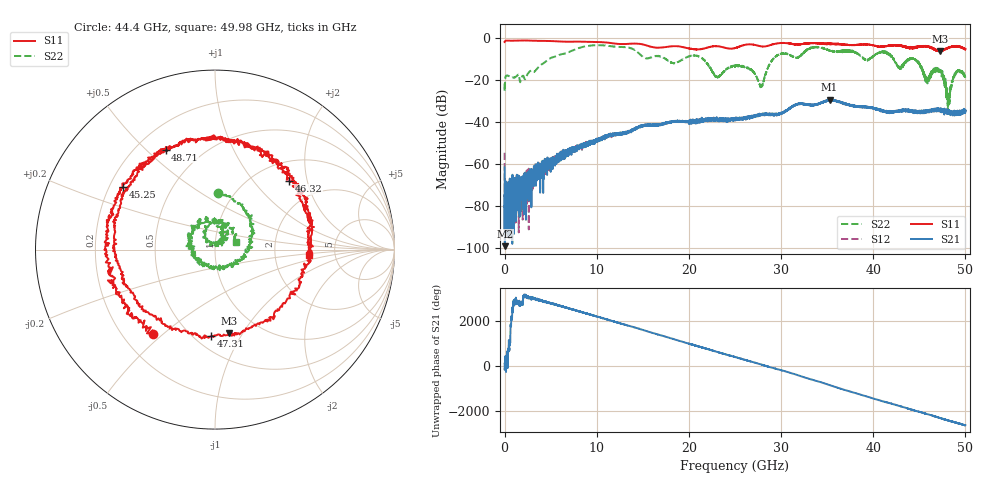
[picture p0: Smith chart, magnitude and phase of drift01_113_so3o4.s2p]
!Created with skrf (http://scikit-rf.org).
# Hz S RI R 50.0
!freq ReS11 ImS11 ReS21 ImS21 ReS12 ImS12 ReS22 ImS22
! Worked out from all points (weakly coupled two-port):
!   10001 points, 300 kHz to 50 GHz, reference 50 ohm
!   highest |S21| = -29.55 dB at 35.27 GHz (marker M1); lowest = -99.2 dB at 25.3 MHz (marker M2)
!   lowest |S11| = -6.5 dB at 47.24 GHz (marker M3), VSWR 2.78, Z = 36.4 - j43.5 ohm
!   |S11| at or under -10 dB: nowhere
!   |S22| runs from -35.0 to -3.6 dB; largest |S21 - S12| = 0.0037
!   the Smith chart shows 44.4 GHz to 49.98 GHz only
!   S11 on the Smith chart (normalised r, x): 44.4 GHz: 0.33, -0.46; 45.25 GHz: 0.25, +0.29; 46.32 GHz: 1.39, +1.56; 47.31 GHz: 0.60, -0.75; 48.71 GHz: 0.32, +0.58; 49.98 GHz: 3.17, -0.26
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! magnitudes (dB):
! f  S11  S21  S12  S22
! 300 kHz  -2.1  -61.8  -54.8  -21.8
! 25.3 MHz  -1.9  -99.2  -72.8  -23.0
! 255.3 MHz  -1.4  -82.8  -77.1  -18.0
! 8.335 GHz  -2.0  -52.1  -51.2  -4.6
! 16.67 GHz  -4.8  -41.5  -41.5  -8.7
! 20.97 GHz  -5.6  -40.0  -39.6  -8.8
! 23.09 GHz  -4.1  -38.5  -38.7  -18.8
! 25 GHz  -5.0  -38.7  -39.0  -13.7
! 27.84 GHz  -4.1  -36.6  -36.8  -23.2
! 29.47 GHz  -2.8  -36.7  -36.6  -8.8
! 33.34 GHz  -2.6  -32.0  -32.0  -4.8
! 35.27 GHz  -2.9  -29.6  -29.8  -6.0
! 41.67 GHz  -3.9  -35.3  -35.2  -7.9
! 44.4 GHz  -4.7  -34.6  -35.4  -10.1
! 45.25 GHz  -4.1  -35.3  -35.2  -14.1
! 46.32 GHz  -5.0  -34.6  -34.7  -17.4
! 47.24 GHz  -6.5  -34.6  -34.3  -17.0
! 47.31 GHz  -6.3  -34.4  -34.2  -15.5
! 48.13 GHz  -4.8  -35.5  -35.5  -31.3
! 48.71 GHz  -4.1  -35.5  -36.1  -18.6
! 49.98 GHz  -5.6  -34.9  -34.7  -18.0
! 50 GHz  -5.4  -34.6  -34.7  -18.6
